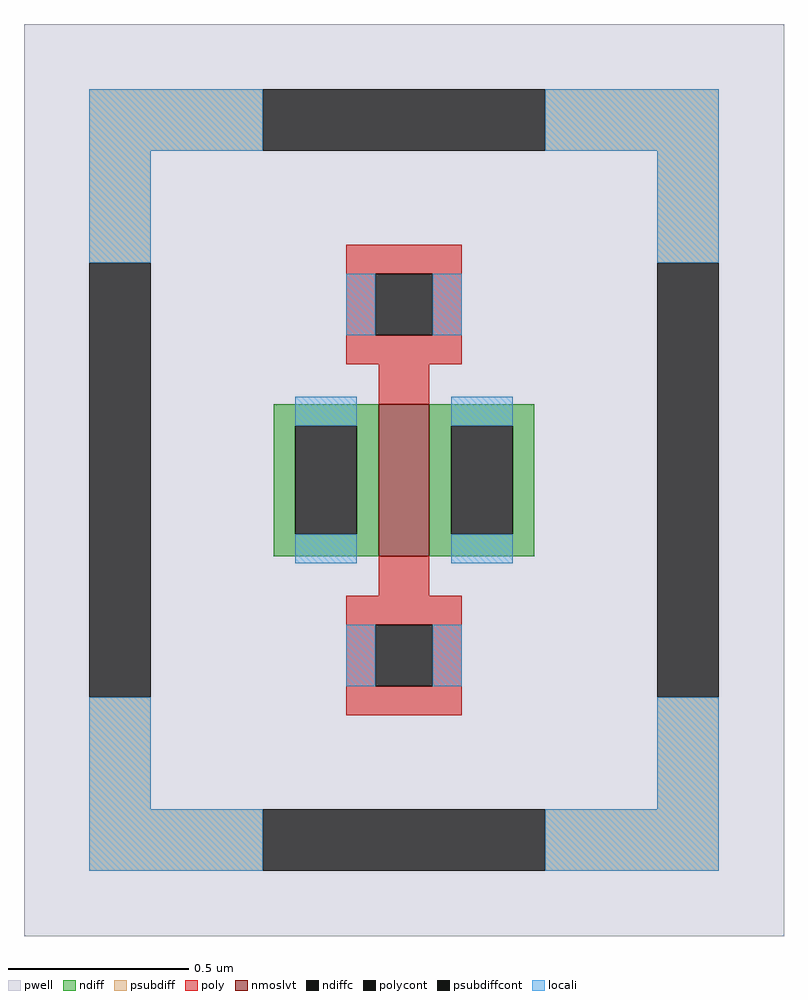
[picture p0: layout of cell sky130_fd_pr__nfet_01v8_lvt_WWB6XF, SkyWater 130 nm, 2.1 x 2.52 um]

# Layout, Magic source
magic
tech sky130A
<< pwell >>
rect -105 -126 105 126
<< nmoslvt >>
rect -7 -21 7 21
<< ndiff >>
rect -36 15 -7 21
rect -36 -15 -30 15
rect -13 -15 -7 15
rect -36 -21 -7 -15
rect 7 15 36 21
rect 7 -15 13 15
rect 30 -15 36 15
rect 7 -21 36 -15
<< ndiffc >>
rect -30 -15 -13 15
rect 13 -15 30 15
<< psubdiff >>
rect -87 91 -39 108
rect 39 91 87 108
rect -87 60 -70 91
rect 70 60 87 91
rect -87 -91 -70 -60
rect 70 -91 87 -60
rect -87 -108 -39 -91
rect 39 -108 87 -91
<< psubdiffcont >>
rect -39 91 39 108
rect -87 -60 -70 60
rect 70 -60 87 60
rect -39 -108 39 -91
<< poly >>
rect -16 57 16 65
rect -16 40 -8 57
rect 8 40 16 57
rect -16 32 16 40
rect -7 21 7 32
rect -7 -32 7 -21
rect -16 -40 16 -32
rect -16 -57 -8 -40
rect 8 -57 16 -40
rect -16 -65 16 -57
<< polycont >>
rect -8 40 8 57
rect -8 -57 8 -40
<< locali >>
rect -87 91 -39 108
rect 39 91 87 108
rect -87 60 -70 91
rect 70 60 87 91
rect -16 40 -8 57
rect 8 40 16 57
rect -30 15 -13 23
rect -30 -23 -13 -15
rect 13 15 30 23
rect 13 -23 30 -15
rect -16 -57 -8 -40
rect 8 -57 16 -40
rect -87 -91 -70 -60
rect 70 -91 87 -60
rect -87 -108 -39 -91
rect 39 -108 87 -91
<< properties >>
string gencell sky130_fd_pr__nfet_01v8_lvt
string FIXED_BBOX -79 -99 79 99
string parameters w 0.420 l 0.150 m 1 nf 1 diffcov 100 polycov 100 guard 1 glc 1 grc 1 gtc 1 gbc 1 tbcov 100 rlcov 100 topc 1 botc 1 poverlap 0 doverlap 1 lmin 0.15 wmin 0.42 compatible {sky130_fd_pr__nfet_01v8 sky130_fd_pr__nfet_01v8_lvt  sky130_fd_bs_flash__special_sonosfet_star  sky130_fd_pr__nfet_g5v0d10v5 sky130_fd_pr__nfet_05v0_nvt} full_metal 1
string library sky130
<< end >>
